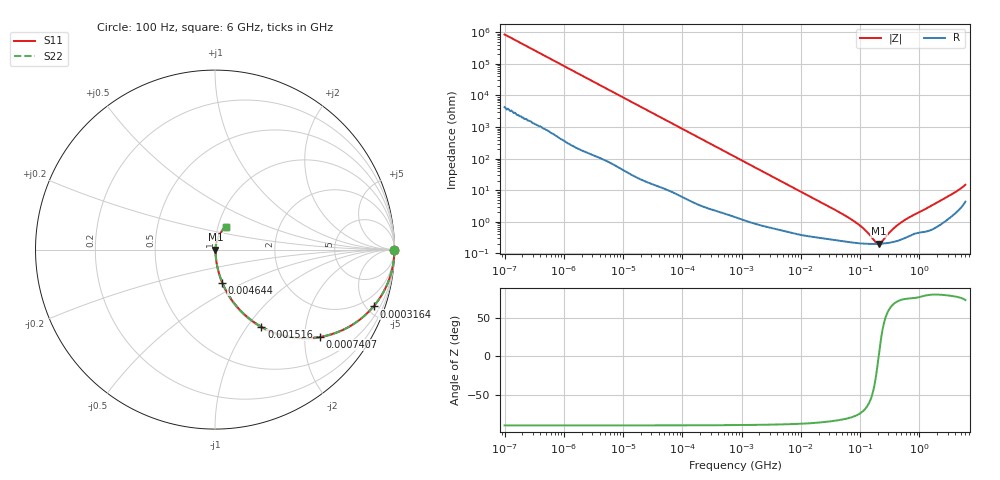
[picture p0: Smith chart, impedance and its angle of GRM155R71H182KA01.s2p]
!Murata Part Number: GRM155R71H182KA01
!These Parameters are Measured in Series Mode Connection
!Data Generated on Mar 30, 2021
!  o--ll--o
!Port1  Port2
!  o------o
!Operation Temp=25[degC], DC Bias Voltage=0[V]
!Freq. Start=100[Hz] Stop=6[GHz] 401[Steps]
# Hz S RI R 50
!Freq.(Hz) S11(Real) S11(Imag) S21(Real) S21(Imag) S12(Real) S12(Imag) S22(Real) S22(Imag)
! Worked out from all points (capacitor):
!   401 points, 100 Hz to 6 GHz, reference 50 ohm
!   read as one part in series: C = 1.86 nF near 109 Hz
!   lowest |Z| = 201 mohm at 208.8 MHz (marker M1)
!   series resonance near 206.1 MHz, so ESL is about 320 pH
!   S11 on the Smith chart (normalised r, x): 100 Hz: open; 316.4 kHz: 1.05, -5.56; 740.7 kHz: 1.03, -2.38; 1.516 MHz: 1.02, -1.17; 4.644 MHz: 1.01, -0.39; 6 GHz: 1.09, +0.28
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100  1 -0.000117  6e-07 0.000117  6e-07 0.000117  1 -0.000117
2008  1 -0.00233  1.52e-05 0.00233  1.52e-05 0.00233  1 -0.00233
40335  0.9976 -0.0462  0.00241 0.0462  0.00241 0.0462  0.9976 -0.0462
123542  0.9796 -0.138  0.0204 0.138  0.0204 0.138  0.9796 -0.138
316350  0.8831 -0.3169  0.1169 0.3169  0.1169 0.3169  0.8831 -0.3169
473344  0.7734 -0.4135  0.2266 0.4135  0.2266 0.4135  0.7734 -0.4135
740679  0.586 -0.4865  0.414 0.4865  0.414 0.4865  0.586 -0.4865
774597  0.5645 -0.4897  0.4355 0.4897  0.4355 0.4897  0.5645 -0.4897
1516199  0.2584 -0.43  0.7416 0.43  0.7416 0.43  0.2584 -0.43
2481164  0.1189 -0.3139  0.8811 0.3139  0.8811 0.3139  0.1189 -0.3139
4643984  0.0406 -0.184  0.9594 0.184  0.9594 0.184  0.0406 -0.184
1.555665e7  0.00666 -0.0575  0.9933 0.0575  0.9933 0.0575  0.00666 -0.0575
7.797396e7  0.00228 -0.0104  0.9977 0.0104  0.9977 0.0104  0.00228 -0.0104
1.220122e8  0.00204 -0.00506  0.998 0.00506  0.998 0.00506  0.00204 -0.00506
1.825626e8  0.00199 -0.00112  0.998 0.00112  0.998 0.00112  0.00199 -0.00112
2.088084e8  0.00201 0.000123  0.998 -0.000123  0.998 -0.000123  0.00201 0.000123
2.388273e8  0.00204 0.00137  0.998 -0.00137  0.998 -0.00137  0.00204 0.00137
3.124326e8  0.00218 0.00397  0.9978 -0.00397  0.9978 -0.00397  0.00218 0.00397
4.274388e8  0.00253 0.00734  0.9975 -0.00734  0.9975 -0.00734  0.00253 0.00734
6.11557e8  0.00337 0.0119  0.9966 -0.0119  0.9966 -0.0119  0.00337 0.0119
2.450438e9  0.0112 0.0487  0.9888 -0.0487  0.9888 -0.0487  0.0112 0.0487
6e9  0.059 0.1285  0.941 -0.1285  0.941 -0.1285  0.059 0.1285
